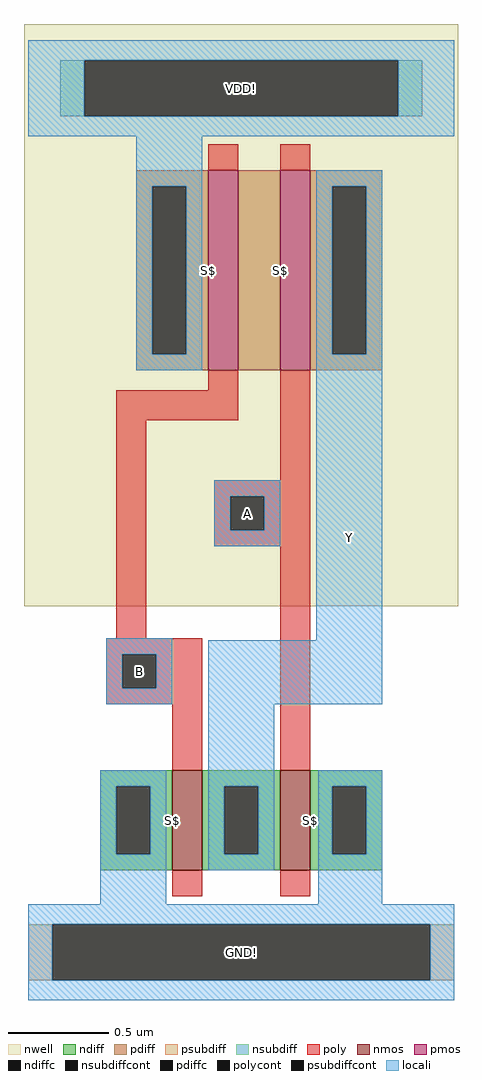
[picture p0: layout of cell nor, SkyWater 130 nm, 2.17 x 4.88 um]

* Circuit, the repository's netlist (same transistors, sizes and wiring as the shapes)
* NGSPICE file created from nor.ext - technology: sky130A

*.subckt nor VDD GND A Y B
X0 Y B GND GND sky130_fd_pr__nfet_01v8 ad=0.0975 pd=0.89 as=0.18 ps=1.72 w=0.5 l=0.15
X1 GND A Y GND sky130_fd_pr__nfet_01v8 ad=0.18 pd=1.72 as=0.0975 ps=0.89 w=0.5 l=0.15
X2 a_174_630# B VDD VDD sky130_fd_pr__pfet_01v8 ad=0.195 pd=1.39 as=0.36 ps=2.72 w=1 l=0.15
X3 Y A a_174_630# VDD sky130_fd_pr__pfet_01v8 ad=0.36 pd=2.72 as=0.195 ps=1.39 w=1 l=0.15
*.ends

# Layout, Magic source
magic
tech sky130A
<< nwell >>
rect -2 197 215 488
<< nmos >>
rect 72 65 87 115
rect 126 65 141 115
<< pmos >>
rect 90 315 105 415
rect 126 315 141 415
<< ndiff >>
rect 36 107 72 115
rect 36 73 44 107
rect 61 73 72 107
rect 36 65 72 73
rect 87 107 126 115
rect 87 73 98 107
rect 115 73 126 107
rect 87 65 126 73
rect 141 107 177 115
rect 141 73 152 107
rect 169 73 177 107
rect 141 65 177 73
<< pdiff >>
rect 54 407 90 415
rect 54 323 62 407
rect 79 323 90 407
rect 54 315 90 323
rect 105 315 126 415
rect 141 407 177 415
rect 141 323 152 407
rect 169 323 177 407
rect 141 315 177 323
<< ndiffc >>
rect 44 73 61 107
rect 98 73 115 107
rect 152 73 169 107
<< pdiffc >>
rect 62 323 79 407
rect 152 323 169 407
<< psubdiff >>
rect 0 10 12 38
rect 201 10 213 38
<< nsubdiff >>
rect 16 442 28 470
rect 185 442 197 470
<< psubdiffcont >>
rect 12 10 201 38
<< nsubdiffcont >>
rect 28 442 185 470
<< poly >>
rect 90 415 105 428
rect 126 415 141 428
rect 90 305 105 315
rect 44 290 105 305
rect 44 181 59 290
rect 126 260 141 315
rect 93 252 141 260
rect 93 235 101 252
rect 118 235 141 252
rect 93 227 141 235
rect 39 173 87 181
rect 39 156 47 173
rect 64 156 87 173
rect 39 148 87 156
rect 72 115 87 148
rect 126 115 141 227
rect 72 52 87 65
rect 126 52 141 65
<< polycont >>
rect 101 235 118 252
rect 47 156 64 173
<< locali >>
rect 0 470 213 480
rect 0 442 28 470
rect 185 442 213 470
rect 0 432 213 442
rect 54 407 87 432
rect 54 323 62 407
rect 79 323 87 407
rect 54 315 87 323
rect 144 407 177 415
rect 144 323 152 407
rect 169 323 177 407
rect 93 252 126 260
rect 93 235 101 252
rect 118 235 126 252
rect 93 227 126 235
rect 39 173 72 181
rect 144 180 177 323
rect 39 156 47 173
rect 64 156 72 173
rect 39 148 72 156
rect 90 148 177 180
rect 36 107 69 115
rect 36 73 44 107
rect 61 73 69 107
rect 36 48 69 73
rect 90 107 123 148
rect 90 73 98 107
rect 115 73 123 107
rect 90 65 123 73
rect 145 107 177 115
rect 145 73 152 107
rect 169 73 177 107
rect 145 48 177 73
rect 0 38 213 48
rect 0 10 12 38
rect 201 10 213 38
rect 0 0 213 10
<< labels >>
flabel ndiff 72 90 72 90 1 FreeSerif 8 0 0 0 S$
flabel locali 39 148 72 181 0 FreeSerif 80 0 0 0 B
port 8 nsew
flabel locali 144 148 177 315 0 FreeSerif 80 0 0 0 Y
port 5 nsew
flabel locali 0 432 213 480 0 FreeSerif 80 0 0 0 VDD!
port 2 nsew
flabel locali 0 0 213 48 0 FreeSerif 80 0 0 0 GND!
port 3 nsew
flabel ndiff 141 90 141 90 1 FreeSerif 8 0 0 0 S$
flabel pdiff 126 365 126 365 1 FreeSerif 8 0 0 0 S$
flabel locali 93 227 126 260 0 FreeSerif 80 0 0 0 A
port 4 nsew
flabel pdiff 90 365 90 365 1 FreeSerif 8 0 0 0 S$
<< end >>
